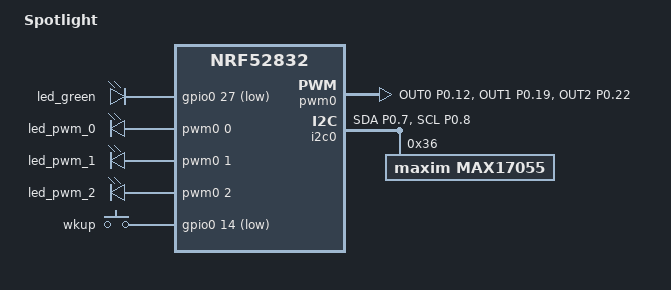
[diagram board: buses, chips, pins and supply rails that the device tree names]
/dts-v1/;
#include <nordic/nrf52832_qfaa.dtsi>
#include <dt-bindings/input/input-event-codes.h>

/ {
	model = "Spotlight";
	compatible = "balto,spotlight";

	chosen {
		zephyr,sram = &sram0;
		zephyr,flash = &flash0;
		zephyr,code-partition = &slot0_partition;
	};

	leds {
		compatible = "gpio-leds";
		led_green {
			gpios = <&gpio0 27 GPIO_ACTIVE_LOW>;
		};
	};

	pwmleds {
		compatible = "pwm-leds";
		led_pwm_0 {
			pwms = <&pwm0 0 PWM_HZ(250) PWM_POLARITY_NORMAL>;
		};
		led_pwm_1 {
			pwms = <&pwm0 1 PWM_HZ(250) PWM_POLARITY_NORMAL>;
		};
		led_pwm_2 {
			pwms = <&pwm0 2 PWM_HZ(250) PWM_POLARITY_NORMAL>;
		};
	};

	buttons: buttons {
		compatible = "zephyr,gpio-keys";
		wkup: sw_0 {
			gpios = <&gpio0 14 (GPIO_PULL_UP | GPIO_ACTIVE_LOW)>;
			zephyr,code = <INPUT_KEY_0>;
		};
	};

	longpress: longpress {
		input = <&buttons>;
		compatible = "zephyr,input-longpress";
		input-codes = <INPUT_KEY_0>;
		short-codes = <INPUT_KEY_A>;
		long-codes = <INPUT_KEY_B>;
		long-delay-ms = <1000>;
	};

};

&pinctrl {
	pwm0_default: pwm0_default {
		group1 {
			psels = <NRF_PSEL(PWM_OUT0, 0, 12)>,
				<NRF_PSEL(PWM_OUT1, 0, 19)>,
				<NRF_PSEL(PWM_OUT2, 0, 22)>;
		};
	};

	pwm0_sleep: pwm0_sleep {
		group1 {
			psels = <NRF_PSEL(PWM_OUT0, 0, 12)>,
				<NRF_PSEL(PWM_OUT1, 0, 19)>,
				<NRF_PSEL(PWM_OUT2, 0, 22)>;
			low-power-enable;
		};
	};

	i2c0_default: i2c0_default {
		group1 {
			psels = <NRF_PSEL(TWIM_SDA, 0, 7)>,
				<NRF_PSEL(TWIM_SCL, 0, 8)>;
		};
	};

	i2c0_sleep: i2c0_sleep {
		group1 {
			psels = <NRF_PSEL(TWIM_SDA, 0, 7)>,
				<NRF_PSEL(TWIM_SCL, 0, 8)>;
			low-power-enable;
		};
	};
};

&gpiote {
	status = "okay";
};

&gpio0 {
	status = "okay";
};

&pwm0 {
	status = "okay";
	pinctrl-0 = <&pwm0_default>;
	pinctrl-1 = <&pwm0_sleep>;
	pinctrl-names = "default", "sleep";
};

&i2c0 {
	compatible = "nordic,nrf-twi";
	status = "okay";
	pinctrl-0 = <&i2c0_default>;
	pinctrl-1 = <&i2c0_sleep>;
	pinctrl-names = "default", "sleep";

	max17055@36 {
		compatible = "maxim,max17055";
		reg = <0x36>;
		design-capacity = <1250>;
		design-voltage = <4200>;
		desired-voltage = <4200>;
		desired-charging-current = <500>;
		i-chg-term = <250>;
		rsense-mohms = <10>;
		v-empty = <2800>;
	};
};

&flash0 {
	partitions {
		compatible = "fixed-partitions";
		#address-cells = <1>;
		#size-cells = <1>;

		boot_partition: partition@0 {
			label = "mcuboot";
			reg = <0x00000000 0xc000>;
		};
		slot0_partition: partition@c000 {
			label = "image-0";
			reg = <0x0000c000 0x36000>;
		};
		slot1_partition: partition@42000 {
			label = "image-1";
			reg = <0x00042000 0x36000>;
		};
		scratch_partition: partition@78000 {
			label = "image-scratch";
			reg = <0x00078000 0x4000>;
		};
		storage_partition: partition@7c000 {
			label = "storage";
			reg = <0x0007c000 0x4000>;
		};
	};
};
